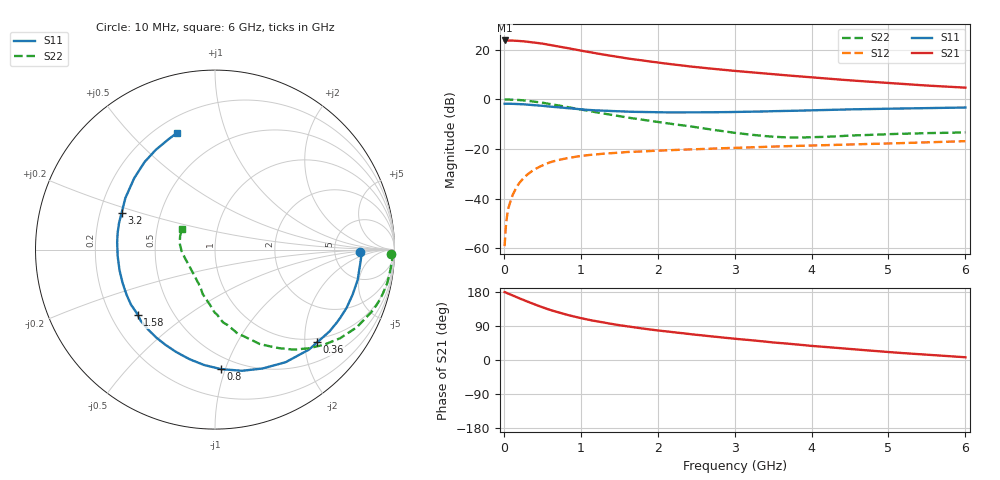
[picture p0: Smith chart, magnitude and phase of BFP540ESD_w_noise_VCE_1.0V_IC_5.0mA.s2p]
! (c) 2015  Infineon Technologies AG, Munich
! Infineon Technologies  Discrete & RF Semiconductors
! BFP540ESD
! VCE =  1.0 V,  IC =  5.0 mA
! Common Emitter S-Parameters:  Nov 2015
# GHz  S  MA  R  50
!  f  S11  S21  S12  S22
! GHz  MAG  ANG  MAG  ANG  MAG  ANG  MAG  ANG
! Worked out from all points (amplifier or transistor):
!   210 points, 10 MHz to 6 GHz, reference 50 ohm
!   highest |S21| = 23.7 dB at 10 MHz (marker M1)
!   |S21| within 3 dB of that: start of sweep to 814.9 MHz
!   unconditionally stable (mu >= 1): 3.32 GHz to end of sweep
!   at 185 MHz: K = 0.04, MSG = 29.0 dB, |S12| = -34.5 dB
!   at 1.52 GHz: K = 0.51, MSG = 19.2 dB, |S12| = -21.5 dB
!   at 6 GHz: K = 1.23, MAG = 7.9 dB, |S12| = -16.9 dB
!   lowest NFmin = 0.69 dB at 900 MHz
!   S11 on the Smith chart (normalised r, x): 10 MHz: 9.46, -0.86; 360 MHz: 0.90, -2.29; 800 MHz: 0.40, -0.97; 1.58 GHz: 0.31, -0.33; 3.2 GHz: 0.29, +0.17; 6 GHz: 0.28, +0.69
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0.01  0.8103 -1.1  15.3 179.1  0.0011 83.9  0.9789 -1.4
0.03  0.8145 -3.8  15.24 177.7  0.0032 89.1  0.9887 -2.2
0.05  0.8125 -6.0  15.25 175.8  0.0055 85.7  0.9885 -3.7
0.15  0.8068 -18.0  15.14 167.3  0.0152 81.5  0.9772 -11.1
0.24  0.7947 -28.5  14.77 159.6  0.0242 77.0  0.9567 -17.7
0.36  0.769 -42.2  14.08 149.9  0.0352 70.0  0.9136 -26.0
0.5  0.7406 -57.9  13.23 139.1  0.0464 63.1  0.8545 -35.3
0.56  0.7215 -64.0  12.72 135.0  0.0508 60.2  0.8244 -38.7
0.7  0.6918 -77.4  11.7 126.3  0.0594 55.3  0.7581 -46.5
0.8  0.6666 -87.2  10.95 120.3  0.0642 50.5  0.7092 -51.8
0.9  0.6461 -95.3  10.22 115.1  0.0682 47.6  0.6645 -56.1
1.02  0.6228 -104.5  9.443 109.7  0.0728 44.1  0.6136 -61.0
1.24  0.5937 -120.0  8.209 100.9  0.0787 39.1  0.534 -68.9
1.4  0.5807 -130.0  7.481 95.2  0.0825 36.1  0.4844 -74.9
1.58  0.5636 -139.9  6.744 89.6  0.0861 33.6  0.4358 -79.4
2.02  0.5465 -161.2  5.442 77.5  0.0923 28.8  0.3467 -90.7
2.6  0.5464 177.0  4.281 64.4  0.0999 24.8  0.258 -105.3
3.1  0.5564 161.4  3.619 54.4  0.1061 22.2  0.2023 -118.9
3.2  0.5593 158.5  3.507 52.5  0.1075 21.6  0.1944 -122.7
4.1  0.6044 136.6  2.689 35.7  0.118 16.8  0.1735 -163.6
5.1  0.6494 119.2  2.08 19.5  0.13 12.1  0.2007 167.9
6  0.6828 108.2  1.715 7.2  0.1433 8.6  0.2156 148.6
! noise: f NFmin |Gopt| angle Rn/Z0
0.9  0.69  0.1  42  0.12
1.8  0.92  0.1  123  0.11
2.4  0.94  0.12  135  0.1
3  1.1  0.2  165  0.09
4  1.26  0.29  -127  0.15
5  1.53  0.41  -101  0.32
6  1.74  0.53  -100  0.46
